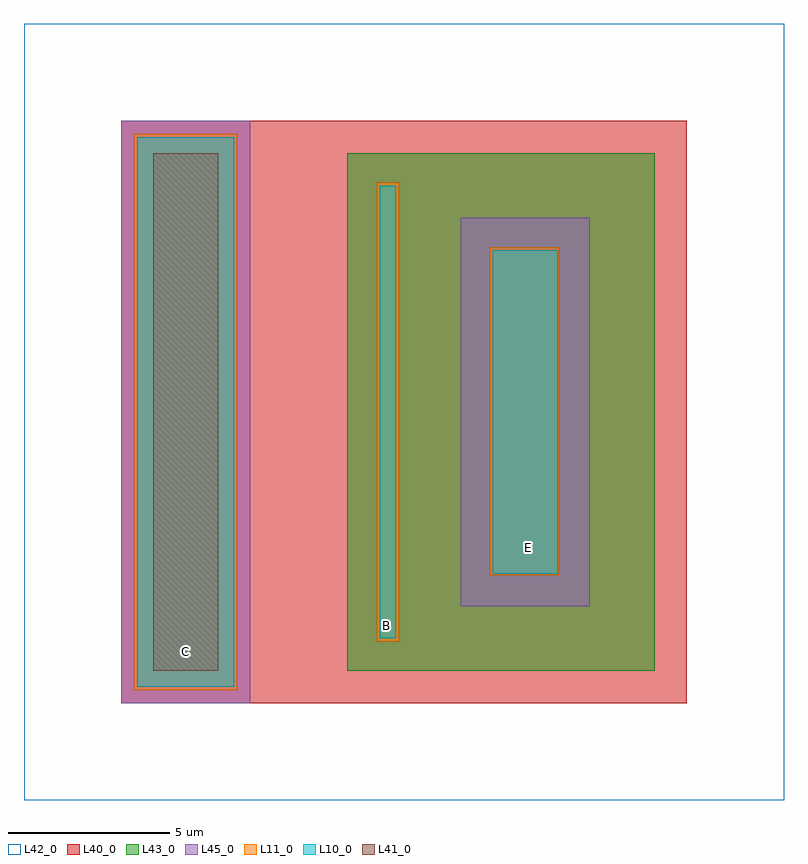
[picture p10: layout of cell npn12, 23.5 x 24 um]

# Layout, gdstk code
import gdstk
lib = gdstk.Library(unit=1e-6, precision=1e-09)
def R(c, l, rs):  # rectangles x0, y0, x1, y1
    for r in rs: c.add(gdstk.rectangle(r[:2], r[2:], *l))
L10_0 = (10, 0)
L11_0 = (11, 0)
L40_0 = (40, 0)
L41_0 = (41, 0)
L42_0 = (42, 0)
L43_0 = (43, 0)
L45_0 = (45, 0)

npn12 = lib.new_cell('npn12')
R(npn12, L10_0, [(3.5,3.5,6.5,20.5), (11,5,11.5,19), (14.5,7,16.5,17)])
R(npn12, L11_0, [(3.4,3.4,6.6,20.6), (10.9,4.9,11.6,19.1), (14.4,6.95,16.55,17.1)])
R(npn12, L40_0, [(3,3,20.5,21)])
R(npn12, L41_0, [(4,4,6,20)])
R(npn12, L42_0, [(0,0,23.5,24)])
R(npn12, L43_0, [(10,4,19.5,20)])
R(npn12, L45_0, [(3,3,7,21), (13.5,6,17.5,18)])
npn12.add(gdstk.Label('B', (11.2,5.4), layer=11, texttype=0))
npn12.add(gdstk.Label('C', (5,4.6), layer=11, texttype=0))
npn12.add(gdstk.Label('E', (15.6,7.8), layer=11, texttype=0))

lib.write_gds('npn12.gds')
